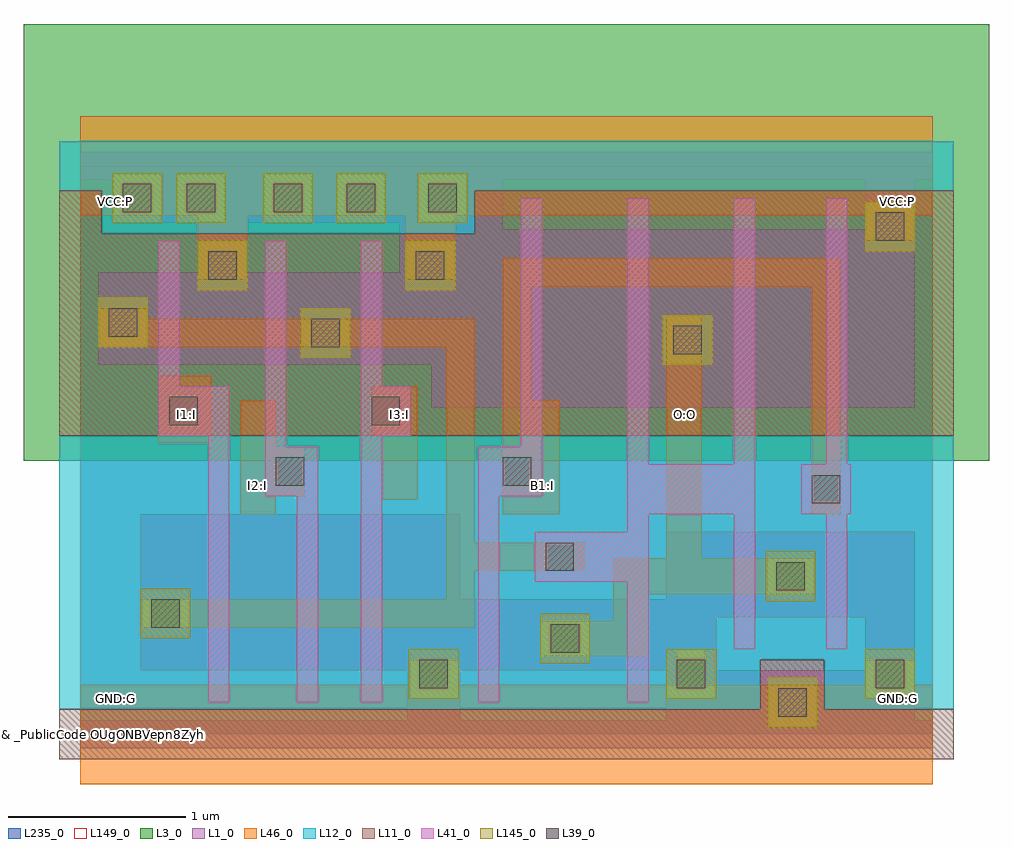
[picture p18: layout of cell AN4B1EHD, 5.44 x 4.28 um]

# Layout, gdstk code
from math import pi, radians
import gdstk
lib = gdstk.Library(unit=1e-6, precision=1e-09)
def R(c, l, rs):  # rectangles x0, y0, x1, y1
    for r in rs: c.add(gdstk.rectangle(r[:2], r[2:], *l))
def P(c, l, *ps):  # polygons
    for p in ps: c.add(gdstk.Polygon(p, *l))
L1_0 = (1, 0)
L3_0 = (3, 0)
L11_0 = (11, 0)
L12_0 = (12, 0)
L39_0 = (39, 0)
L41_0 = (41, 0)
L46_0 = (46, 0)
L145_0 = (145, 0)
L149_0 = (149, 0)
L235_0 = (235, 0)

c_mc = lib.new_cell('MC')
R(c_mc, L39_0, [(-0.08,-0.08,0.08,0.08)])
R(c_mc, L46_0, [(-0.08,-0.14,0.08,0.14)])
R(c_mc, L145_0, [(-0.14,-0.14,0.14,0.14)])

c_pc = lib.new_cell('PC')
R(c_pc, L39_0, [(-0.08,-0.08,0.08,0.08)])
R(c_pc, L41_0, [(-0.14,-0.14,0.14,0.14)])
R(c_pc, L46_0, [(-0.08,-0.14,0.08,0.14)])

ohlenmhnkbp__41gum4xw0 = lib.new_cell('OHLENMHNKBP$$41Gum4XW0')
R(ohlenmhnkbp__41gum4xw0, L1_0, [(0,-0.08,4.8,0.08), (3.58,0.08,4.42,0.36), (0.34,0.36,1.84,1.24), (0.1,2.08,0.66,2.6), (0,3.12,4.8,3.28)])
P(ohlenmhnkbp__41gum4xw0, L1_0, [(4.7,1.14),(3.3,1.14),(3.3,0.08),(3.58,0.08),(3.58,0.66),(4.42,0.66),(4.42,0.08),(4.7,0.08)],
  [(3.22,2.84),(4.42,2.84),(4.42,3.12),(4.7,3.12),(4.7,1.84),(3.22,1.84)],
  [(3.58,0.76),(2.14,0.76),(2.14,1.24),(1.84,1.24),(1.84,0.08),(2.14,0.08),(2.14,0.36),(3.3,0.36),(3.3,0.08),(3.58,0.08)],
  [(3.5,2.84),(2.38,2.84),(2.38,3.12),(1.8,3.12),(1.8,2.6),(0.94,2.6),(0.94,2.88),(1.8,2.88),(1.8,3.12),(0.18,3.12),(0.18,2.88),(0.66,2.88),(0.66,2.08),(1.98,2.08),(1.98,1.84),(3.5,1.84)])
R(ohlenmhnkbp__41gum4xw0, L3_0, [(-0.32,1.54,5.12,4)])
R(ohlenmhnkbp__41gum4xw0, L11_0, [(-0.12,-0.14,4.92,0.14), (3.83,0.14,4.19,0.42)])
P(ohlenmhnkbp__41gum4xw0, L11_0, [(4.92,3.06),(2.22,3.06),(2.22,2.82),(0.12,2.82),(0.12,3.06),(-0.12,3.06),(-0.12,1.68),(4.92,1.68)])
P(ohlenmhnkbp__41gum4xw0, L12_0, [(4.92,1.68),(-0.12,1.68),(-0.12,0.14),(3.83,0.14),(3.83,0.42),(4.19,0.42),(4.19,0.14),(4.92,0.14)],
  [(4.92,3.34),(-0.12,3.34),(-0.12,3.06),(0.12,3.06),(0.12,2.82),(2.22,2.82),(2.22,3.06),(4.92,3.06)])
R(ohlenmhnkbp__41gum4xw0, L41_0, [(2.56,0.86,3.2,1.14), (3.08,1.24,3.8,1.52)])
R(ohlenmhnkbp__41gum4xw0, L46_0, [(0.44,1.64,0.74,2.02), (0.66,2.56,0.94,2.92), (1.83,2.56,2.11,2.92)])
R(ohlenmhnkbp__41gum4xw0, L149_0, [(0,0,4.8,3.2)])
R(ohlenmhnkbp__41gum4xw0, L235_0, [(0,0,4.8,3.2), (0,0,4.8,3.2), (0,0,4.8,3.2), (0,0,4.8,3.2), (0,0,4.8,3.2), (0,0,4.8,3.2), (0,0,4.8,3.2), (0,0,4.8,3.2), (0,0,4.8,3.2), (0,0,4.8,3.2), (0,0,4.8,3.2), (0,0,4.8,3.2)])
ohlenmhnkbp__41gum4xw0.add(gdstk.FlexPath([(0,0),(4.8,0)], 0.56, ends="flush", simple_path=True, layer=46, datatype=0))  # L46_0
ohlenmhnkbp__41gum4xw0.add(gdstk.FlexPath([(0,3.2),(4.8,3.2)], 0.56, ends="flush", simple_path=True, layer=46, datatype=0))  # L46_0
ohlenmhnkbp__41gum4xw0.add(gdstk.FlexPath([(3.4,0.89),(4.14,0.89)], 0.2, ends="flush", simple_path=True, layer=46, datatype=0))  # L46_0
ohlenmhnkbp__41gum4xw0.add(gdstk.FlexPath([(2.46,1.24),(2.46,2.6),(4.2,2.6),(4.2,1.24)], 0.16, ends="flush", simple_path=True, layer=46, datatype=0))  # L46_0
ohlenmhnkbp__41gum4xw0.add(gdstk.FlexPath([(2.6,1.24),(2.6,1.88)], 0.2, ends="flush", simple_path=True, layer=46, datatype=0))  # L46_0
ohlenmhnkbp__41gum4xw0.add(gdstk.FlexPath([(2.06,1),(2.84,1)], 0.16, ends="flush", simple_path=True, layer=46, datatype=0))  # L46_0
ohlenmhnkbp__41gum4xw0.add(gdstk.FlexPath([(1.8,1.32),(1.8,1.96)], 0.2, ends="flush", simple_path=True, layer=46, datatype=0))  # L46_0
ohlenmhnkbp__41gum4xw0.add(gdstk.FlexPath([(1,1.24),(1,1.88)], 0.2, ends="flush", simple_path=True, layer=46, datatype=0))  # L46_0
ohlenmhnkbp__41gum4xw0.add(gdstk.FlexPath([(0.6,1.64),(0.6,2.02)], 0.2, ends="flush", simple_path=True, layer=46, datatype=0))  # L46_0
ohlenmhnkbp__41gum4xw0.add(gdstk.FlexPath([(3.4,2.36),(3.4,0.89),(3.1,0.89),(3.1,0.54),(2.59,0.54)], 0.2, ends="flush", simple_path=True, layer=46, datatype=0))  # L46_0
ohlenmhnkbp__41gum4xw0.add(gdstk.FlexPath([(0.1,2.26),(2.14,2.26),(2.14,0.68),(0.34,0.68)], 0.16, ends="flush", simple_path=True, layer=46, datatype=0))  # L46_0
ohlenmhnkbp__41gum4xw0.add(gdstk.FlexPath([(0.6,0),(0.6,3.2)], 0, ends="flush", simple_path=True, layer=145, datatype=0))  # L145_0
ohlenmhnkbp__41gum4xw0.add(gdstk.FlexPath([(1,0),(1,3.2)], 0, ends="flush", simple_path=True, layer=145, datatype=0))  # L145_0
ohlenmhnkbp__41gum4xw0.add(gdstk.FlexPath([(1.4,0),(1.4,3.2)], 0, ends="flush", simple_path=True, layer=145, datatype=0))  # L145_0
ohlenmhnkbp__41gum4xw0.add(gdstk.FlexPath([(1.8,0),(1.8,3.2)], 0, ends="flush", simple_path=True, layer=145, datatype=0))  # L145_0
ohlenmhnkbp__41gum4xw0.add(gdstk.FlexPath([(2.2,0),(2.2,3.2)], 0, ends="flush", simple_path=True, layer=145, datatype=0))  # L145_0
ohlenmhnkbp__41gum4xw0.add(gdstk.FlexPath([(2.6,0),(2.6,3.2)], 0, ends="flush", simple_path=True, layer=145, datatype=0))  # L145_0
ohlenmhnkbp__41gum4xw0.add(gdstk.FlexPath([(3,0),(3,3.2)], 0, ends="flush", simple_path=True, layer=145, datatype=0))  # L145_0
ohlenmhnkbp__41gum4xw0.add(gdstk.FlexPath([(0,3),(4.8,3)], 0, ends="flush", simple_path=True, layer=145, datatype=0))  # L145_0
ohlenmhnkbp__41gum4xw0.add(gdstk.FlexPath([(3.4,0),(3.4,3.2)], 0, ends="flush", simple_path=True, layer=145, datatype=0))  # L145_0
ohlenmhnkbp__41gum4xw0.add(gdstk.FlexPath([(3.8,0),(3.8,3.2)], 0, ends="flush", simple_path=True, layer=145, datatype=0))  # L145_0
ohlenmhnkbp__41gum4xw0.add(gdstk.FlexPath([(4.2,0),(4.2,3.2)], 0, ends="flush", simple_path=True, layer=145, datatype=0))  # L145_0
ohlenmhnkbp__41gum4xw0.add(gdstk.FlexPath([(4.6,0),(4.6,3.2)], 0, ends="flush", simple_path=True, layer=145, datatype=0))  # L145_0
ohlenmhnkbp__41gum4xw0.add(gdstk.FlexPath([(0,0.2),(4.8,0.2)], 0, ends="flush", simple_path=True, layer=145, datatype=0))  # L145_0
ohlenmhnkbp__41gum4xw0.add(gdstk.FlexPath([(0,0.6),(4.8,0.6)], 0, ends="flush", simple_path=True, layer=145, datatype=0))  # L145_0
ohlenmhnkbp__41gum4xw0.add(gdstk.FlexPath([(0,1),(4.8,1)], 0, ends="flush", simple_path=True, layer=145, datatype=0))  # L145_0
ohlenmhnkbp__41gum4xw0.add(gdstk.FlexPath([(0,1.4),(4.8,1.4)], 0, ends="flush", simple_path=True, layer=145, datatype=0))  # L145_0
ohlenmhnkbp__41gum4xw0.add(gdstk.FlexPath([(0,2.6),(4.8,2.6)], 0, ends="flush", simple_path=True, layer=145, datatype=0))  # L145_0
ohlenmhnkbp__41gum4xw0.add(gdstk.FlexPath([(0,2.2),(4.8,2.2)], 0, ends="flush", simple_path=True, layer=145, datatype=0))  # L145_0
ohlenmhnkbp__41gum4xw0.add(gdstk.FlexPath([(0,1.8),(4.8,1.8)], 0, ends="flush", simple_path=True, layer=145, datatype=0))  # L145_0
ohlenmhnkbp__41gum4xw0.add(gdstk.FlexPath([(0.2,0),(0.2,3.2)], 0, ends="flush", simple_path=True, layer=145, datatype=0))  # L145_0
ohlenmhnkbp__41gum4xw0.add(gdstk.FlexPath([(1.64,0.18),(1.64,2.78)], 0.12, ends="flush", simple_path=True, layer=41, datatype=0))  # L41_0
ohlenmhnkbp__41gum4xw0.add(gdstk.FlexPath([(1.1,2.78),(1.1,1.56),(1.28,1.56),(1.28,0.18)], 0.12, ends="flush", simple_path=True, layer=41, datatype=0))  # L41_0
ohlenmhnkbp__41gum4xw0.add(gdstk.FlexPath([(0.5,2.78),(0.5,1.9),(0.78,1.9),(0.78,0.18)], 0.12, ends="flush", simple_path=True, layer=41, datatype=0))  # L41_0
ohlenmhnkbp__41gum4xw0.add(gdstk.FlexPath([(3.74,0.48),(3.74,3.02)], 0.12, ends="flush", simple_path=True, layer=41, datatype=0))  # L41_0
ohlenmhnkbp__41gum4xw0.add(gdstk.FlexPath([(2.54,3.02),(2.54,1.56),(2.3,1.56),(2.3,0.18)], 0.12, ends="flush", simple_path=True, layer=41, datatype=0))  # L41_0
ohlenmhnkbp__41gum4xw0.add(gdstk.FlexPath([(3.14,0.18),(3.14,3.02)], 0.12, ends="flush", simple_path=True, layer=41, datatype=0))  # L41_0
ohlenmhnkbp__41gum4xw0.add(gdstk.FlexPath([(4.26,0.48),(4.26,3.02)], 0.12, ends="flush", simple_path=True, layer=41, datatype=0))  # L41_0
r = gdstk.Reference(c_mc, (3.42,2.22)); r.repetition = gdstk.Repetition(1, 1, v1=(0.28,0), v2=(0,0.32)); ohlenmhnkbp__41gum4xw0.add(r)
r = gdstk.Reference(c_mc, (1.58,3.02), rotation=pi/2); r.repetition = gdstk.Repetition(1, 1, v1=(0,0.28), v2=(-0.32,0)); ohlenmhnkbp__41gum4xw0.add(r)
r = gdstk.Reference(c_mc, (0.48,0.68), rotation=pi/2); r.repetition = gdstk.Repetition(1, 1, v1=(0,0.28), v2=(-0.32,0)); ohlenmhnkbp__41gum4xw0.add(r)
r = gdstk.Reference(c_mc, (2.73,0.54), rotation=pi/2); r.repetition = gdstk.Repetition(1, 1, v1=(0,0.28), v2=(-0.32,0)); ohlenmhnkbp__41gum4xw0.add(r)
r = gdstk.Reference(c_mc, (1.99,0.34), rotation=pi/2); r.repetition = gdstk.Repetition(1, 1, v1=(0,0.28), v2=(-0.32,0)); ohlenmhnkbp__41gum4xw0.add(r)
r = gdstk.Reference(c_mc, (1.97,2.64), rotation=pi/2); r.repetition = gdstk.Repetition(1, 1, v1=(0,0.28), v2=(-0.32,0)); ohlenmhnkbp__41gum4xw0.add(r)
r = gdstk.Reference(c_mc, (0.24,2.32), rotation=pi/2); r.repetition = gdstk.Repetition(1, 1, v1=(0,0.28), v2=(-0.32,0)); ohlenmhnkbp__41gum4xw0.add(r)
r = gdstk.Reference(c_mc, (0.8,2.64), rotation=pi/2); r.repetition = gdstk.Repetition(1, 1, v1=(0,0.28), v2=(-0.32,0)); ohlenmhnkbp__41gum4xw0.add(r)
r = gdstk.Reference(c_mc, (0.32,3.02), rotation=pi/2); r.repetition = gdstk.Repetition(1, 1, v1=(0,0.28), v2=(-0.32,0)); ohlenmhnkbp__41gum4xw0.add(r)
r = gdstk.Reference(c_mc, (2.04,3.02), rotation=pi/2); r.repetition = gdstk.Repetition(1, 1, v1=(0,0.28), v2=(-0.32,0)); ohlenmhnkbp__41gum4xw0.add(r)
r = gdstk.Reference(c_mc, (1.17,3.02), rotation=pi/2); r.repetition = gdstk.Repetition(1, 1, v1=(0,0.28), v2=(-0.32,0)); ohlenmhnkbp__41gum4xw0.add(r)
r = gdstk.Reference(c_mc, (4.01,0.18), rotation=pi/2, x_reflection=True); r.repetition = gdstk.Repetition(1, 1, v1=(0,0.28), v2=(0.32,0)); ohlenmhnkbp__41gum4xw0.add(r)
r = gdstk.Reference(c_mc, (4,0.89), rotation=pi/2, x_reflection=True); r.repetition = gdstk.Repetition(1, 1, v1=(0,0.28), v2=(0.32,0)); ohlenmhnkbp__41gum4xw0.add(r)
r = gdstk.Reference(c_mc, (0.68,3.02), rotation=pi/2); r.repetition = gdstk.Repetition(1, 1, v1=(0,0.28), v2=(-0.32,0)); ohlenmhnkbp__41gum4xw0.add(r)
r = gdstk.Reference(c_mc, (4.56,0.34), rotation=pi/2); r.repetition = gdstk.Repetition(1, 1, v1=(0,0.28), v2=(-0.32,0)); ohlenmhnkbp__41gum4xw0.add(r)
r = gdstk.Reference(c_mc, (3.44,0.34)); r.repetition = gdstk.Repetition(1, 1, v1=(0.28,0), v2=(0,0.32)); ohlenmhnkbp__41gum4xw0.add(r)
r = gdstk.Reference(c_mc, (4.56,2.86), rotation=pi/2); r.repetition = gdstk.Repetition(1, 1, v1=(0,0.28), v2=(-0.32,0)); ohlenmhnkbp__41gum4xw0.add(r)
r = gdstk.Reference(c_mc, (1.38,2.26), rotation=pi/2); r.repetition = gdstk.Repetition(1, 1, v1=(0,0.28), v2=(-0.32,0)); ohlenmhnkbp__41gum4xw0.add(r)
r = gdstk.Reference(c_pc, (2.7,1), rotation=pi/2); r.repetition = gdstk.Repetition(1, 1, v1=(0,0.28), v2=(-0.32,0)); ohlenmhnkbp__41gum4xw0.add(r)
r = gdstk.Reference(c_pc, (1.18,1.48)); r.repetition = gdstk.Repetition(1, 1, v1=(0.28,0), v2=(0,0.32)); ohlenmhnkbp__41gum4xw0.add(r)
r = gdstk.Reference(c_pc, (0.58,1.82)); r.repetition = gdstk.Repetition(1, 1, v1=(0.28,0), v2=(0,0.32)); ohlenmhnkbp__41gum4xw0.add(r)
r = gdstk.Reference(c_pc, (2.46,1.48)); r.repetition = gdstk.Repetition(1, 1, v1=(0.28,0), v2=(0,0.32)); ohlenmhnkbp__41gum4xw0.add(r)
r = gdstk.Reference(c_pc, (4.2,1.38), rotation=pi, x_reflection=True); r.repetition = gdstk.Repetition(1, 1, v1=(-0.28,0), v2=(0,0.32)); ohlenmhnkbp__41gum4xw0.add(r)
r = gdstk.Reference(c_pc, (1.72,1.82)); r.repetition = gdstk.Repetition(1, 1, v1=(0.28,0), v2=(0,0.32)); ohlenmhnkbp__41gum4xw0.add(r)
ohlenmhnkbp__41gum4xw0.add(gdstk.Label('#Id:7JQJaQKD4XF6RXVVXbbHNLABMd91ZL2aK99JL0306AKC574O4A3EOSP8MXXWHY99T6WBH22210RAL9', (0.02,0.02), layer=147, texttype=0))
ohlenmhnkbp__41gum4xw0.add(gdstk.Label('AN4B1EHD', (0,0), layer=144, texttype=0))
ohlenmhnkbp__41gum4xw0.add(gdstk.Label('VCC:P', (0.2,3), layer=101, texttype=0))
ohlenmhnkbp__41gum4xw0.add(gdstk.Label('VCC:P', (4.6,3), layer=101, texttype=0))
ohlenmhnkbp__41gum4xw0.add(gdstk.Label('GND:G', (0.2,0.2), layer=101, texttype=0))
ohlenmhnkbp__41gum4xw0.add(gdstk.Label('GND:G', (4.6,0.2), layer=101, texttype=0))
ohlenmhnkbp__41gum4xw0.add(gdstk.Label('B1:I', (2.6,1.4), layer=101, texttype=0))
ohlenmhnkbp__41gum4xw0.add(gdstk.Label('I1:I', (0.6,1.8), layer=101, texttype=0))
ohlenmhnkbp__41gum4xw0.add(gdstk.Label('O:O', (3.4,1.8), layer=101, texttype=0))
ohlenmhnkbp__41gum4xw0.add(gdstk.Label('I3:I', (1.8,1.8), layer=101, texttype=0))
ohlenmhnkbp__41gum4xw0.add(gdstk.Label('I2:I', (1,1.4), layer=101, texttype=0))

an4b1ehd = lib.new_cell('AN4B1EHD')
R(an4b1ehd, L149_0, [(0,0,4.8,3.2)])
an4b1ehd.add(gdstk.Reference(ohlenmhnkbp__41gum4xw0, (0,0)))
an4b1ehd.add(gdstk.Label('& _PublicCode OUgONBVepn8Zyhuhb7nzKSFGv0ozQ4p7', (0,0), layer=3, texttype=0))
an4b1ehd.add(gdstk.Label('& Metric 15.36', (0,0), layer=3, texttype=0))
an4b1ehd.add(gdstk.Label('& Version 2009Q1V3.0', (0,0), layer=3, texttype=0))
an4b1ehd.add(gdstk.Label('& Product FSC0H_D_GENERIC_CORE', (0,0), layer=3, texttype=0))
an4b1ehd.add(gdstk.Label('& Vendor Faraday_Technology_Corp.', (0,0), layer=3, texttype=0))
an4b1ehd.add(gdstk.Label('#Id:7JQJaQKD4XF6RXVVXbbHNLABMd91ZL2aK99JL0306AKC574O4A3EOSP8MXXWHY99T6WBH22210RAL9', (0.02,0.02), layer=147, texttype=0))
an4b1ehd.add(gdstk.Label('AN4B1EHD', (0,0), layer=144, texttype=0))
an4b1ehd.add(gdstk.Label('VCC:P', (0.2,3), layer=101, texttype=0))
an4b1ehd.add(gdstk.Label('VCC:P', (4.6,3), layer=101, texttype=0))
an4b1ehd.add(gdstk.Label('GND:G', (0.2,0.2), layer=101, texttype=0))
an4b1ehd.add(gdstk.Label('GND:G', (4.6,0.2), layer=101, texttype=0))
an4b1ehd.add(gdstk.Label('B1:I', (2.6,1.4), layer=101, texttype=0))
an4b1ehd.add(gdstk.Label('I1:I', (0.6,1.8), layer=101, texttype=0))
an4b1ehd.add(gdstk.Label('O:O', (3.4,1.8), layer=101, texttype=0))
an4b1ehd.add(gdstk.Label('I3:I', (1.8,1.8), layer=101, texttype=0))
an4b1ehd.add(gdstk.Label('I2:I', (1,1.4), layer=101, texttype=0))

lib.write_gds('AN4B1EHD.gds')
